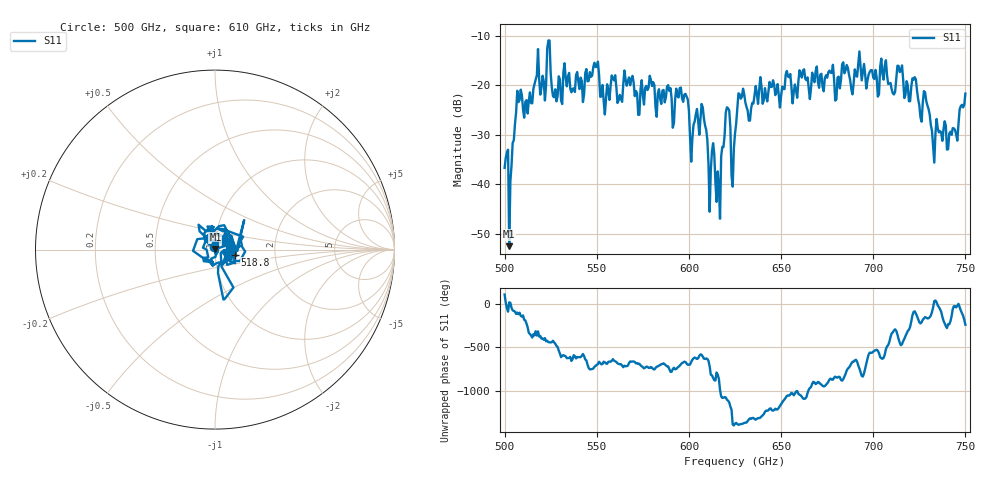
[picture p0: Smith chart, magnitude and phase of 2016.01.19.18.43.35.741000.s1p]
!Created with skrf (http://scikit-rf.org).
# GHz S RI R 50.0
!freq ReS11 ImS11
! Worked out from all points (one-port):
!   401 points, 500 GHz to 750 GHz, reference 50 ohm
!   lowest |S11| = -52.5 dB at 502.5 GHz (marker M1), VSWR 1.00, Z = 50.2 + j0.0882 ohm
!   |S11| at or under -10 dB: start of sweep to end of sweep
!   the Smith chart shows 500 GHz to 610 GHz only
!   S11 on the Smith chart (normalised r, x): 500 GHz: 0.99, +0.03; 518.8 GHz: 1.25, -0.07; 610 GHz: 1.00, +0.06
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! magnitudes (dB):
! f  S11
! 500 GHz  -36.7
! 502.5 GHz  -52.5
! 507.5 GHz  -23.4
! 518.8 GHz  -18.8
! 523.8 GHz  -11.0
! 526.9 GHz  -22.4
! 531.2 GHz  -23.8
! 549.4 GHz  -16.4
! 553.1 GHz  -20.0
! 562.5 GHz  -22.0
! 593.8 GHz  -22.2
! 598.8 GHz  -22.3
! 601.9 GHz  -30.7
! 608.1 GHz  -26.7
! 610 GHz  -31.1
! 615.6 GHz  -37.4
! 620.6 GHz  -24.5
! 623.8 GHz  -40.5
! 625 GHz  -29.8
! 628.1 GHz  -22.7
! 656.2 GHz  -23.7
! 687.5 GHz  -19.0
! 714.4 GHz  -17.4
! 718.8 GHz  -20.1
! 728.8 GHz  -23.2
! 732.5 GHz  -32.5
! 745 GHz  -29.9
! 750 GHz  -21.7
